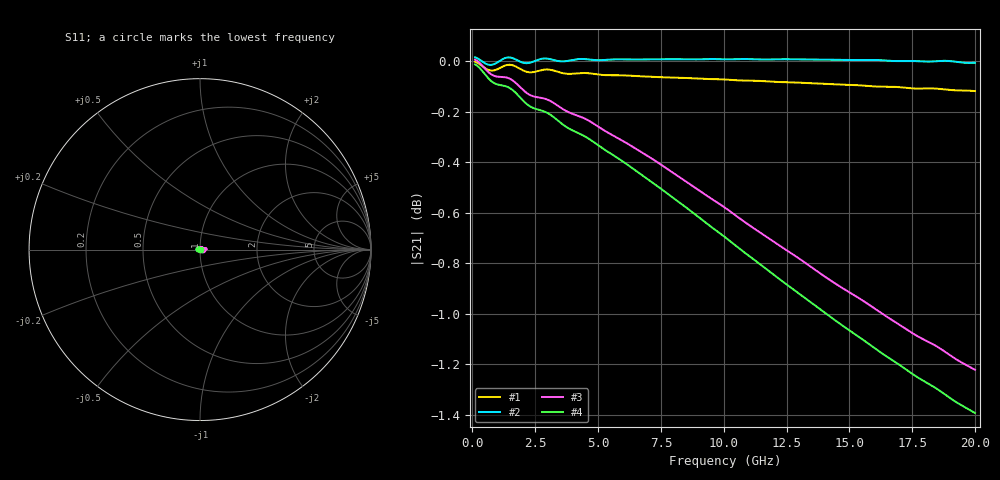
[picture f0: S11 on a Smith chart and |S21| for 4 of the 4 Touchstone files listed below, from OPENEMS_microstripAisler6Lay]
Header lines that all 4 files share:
#  Hz  S  RI  R  50
!  Microstrip line with via fence on Aisler 6 layer HD stackup
!  Line length = combLineTabbed6G_2xthru (54.2mm) - SMA_Rosenbergerv2 fixture (28.9mm) = 23.5mm
!  Paramter List:
!  w50 = 0.65, Width of the 50Ohm line
!  w50gndfree = 1.225, Seperation between RF trace edges to GND planes
!  lineLength = 23.5, Length of the microstrip transmission line
!  portLength = 8,
!  measPlaneShiftP1 = 8,
!  measPlaneShiftP2 = 8,
!  feedShift = 3.74741,
!  numViasX = 55,
!  pcbX = 39.5,
!  pcbY = 25,
!  stackupSub01th = 0.13626,
!  stackupSub02th = 0.2,
!  viaD03 = 0.3,
!  viaCpD03 = 0.6,
!  viaClearD03 = 1,
!  viaPitch = 0.6,
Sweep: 100 MHz to 20 GHz
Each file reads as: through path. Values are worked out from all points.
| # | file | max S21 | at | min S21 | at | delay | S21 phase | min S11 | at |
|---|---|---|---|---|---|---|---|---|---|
| 1 | sim_microstripAisler6Lay_cond_losses.s2p | 0.00 dB | 100 MHz | -0.1 dB | 20 GHz | 146 ps | -162 deg at 10.05 GHz | -71.4 dB | 12.76 GHz |
| 2 | sim_microstripAisler6Lay_no_losses.s2p | 0.02 dB | 100 MHz | 0.0 dB | 716.9 MHz | 143 ps | -152 deg at 10.05 GHz | -44.4 dB | 1.433 GHz |
| 3 | sim_microstripAisler6Lay_sub_losses.s2p | 0.01 dB | 100 MHz | -1.2 dB | 20 GHz | 142 ps | -151 deg at 10.05 GHz | -57.0 dB | 4 GHz |
| 4 | sim_microstripAisler6Lay_subCond_losses.s2p | -0.01 dB | 100 MHz | -1.4 dB | 20 GHz | 145 ps | -161 deg at 10.05 GHz | -67.8 dB | 15.12 GHz |
